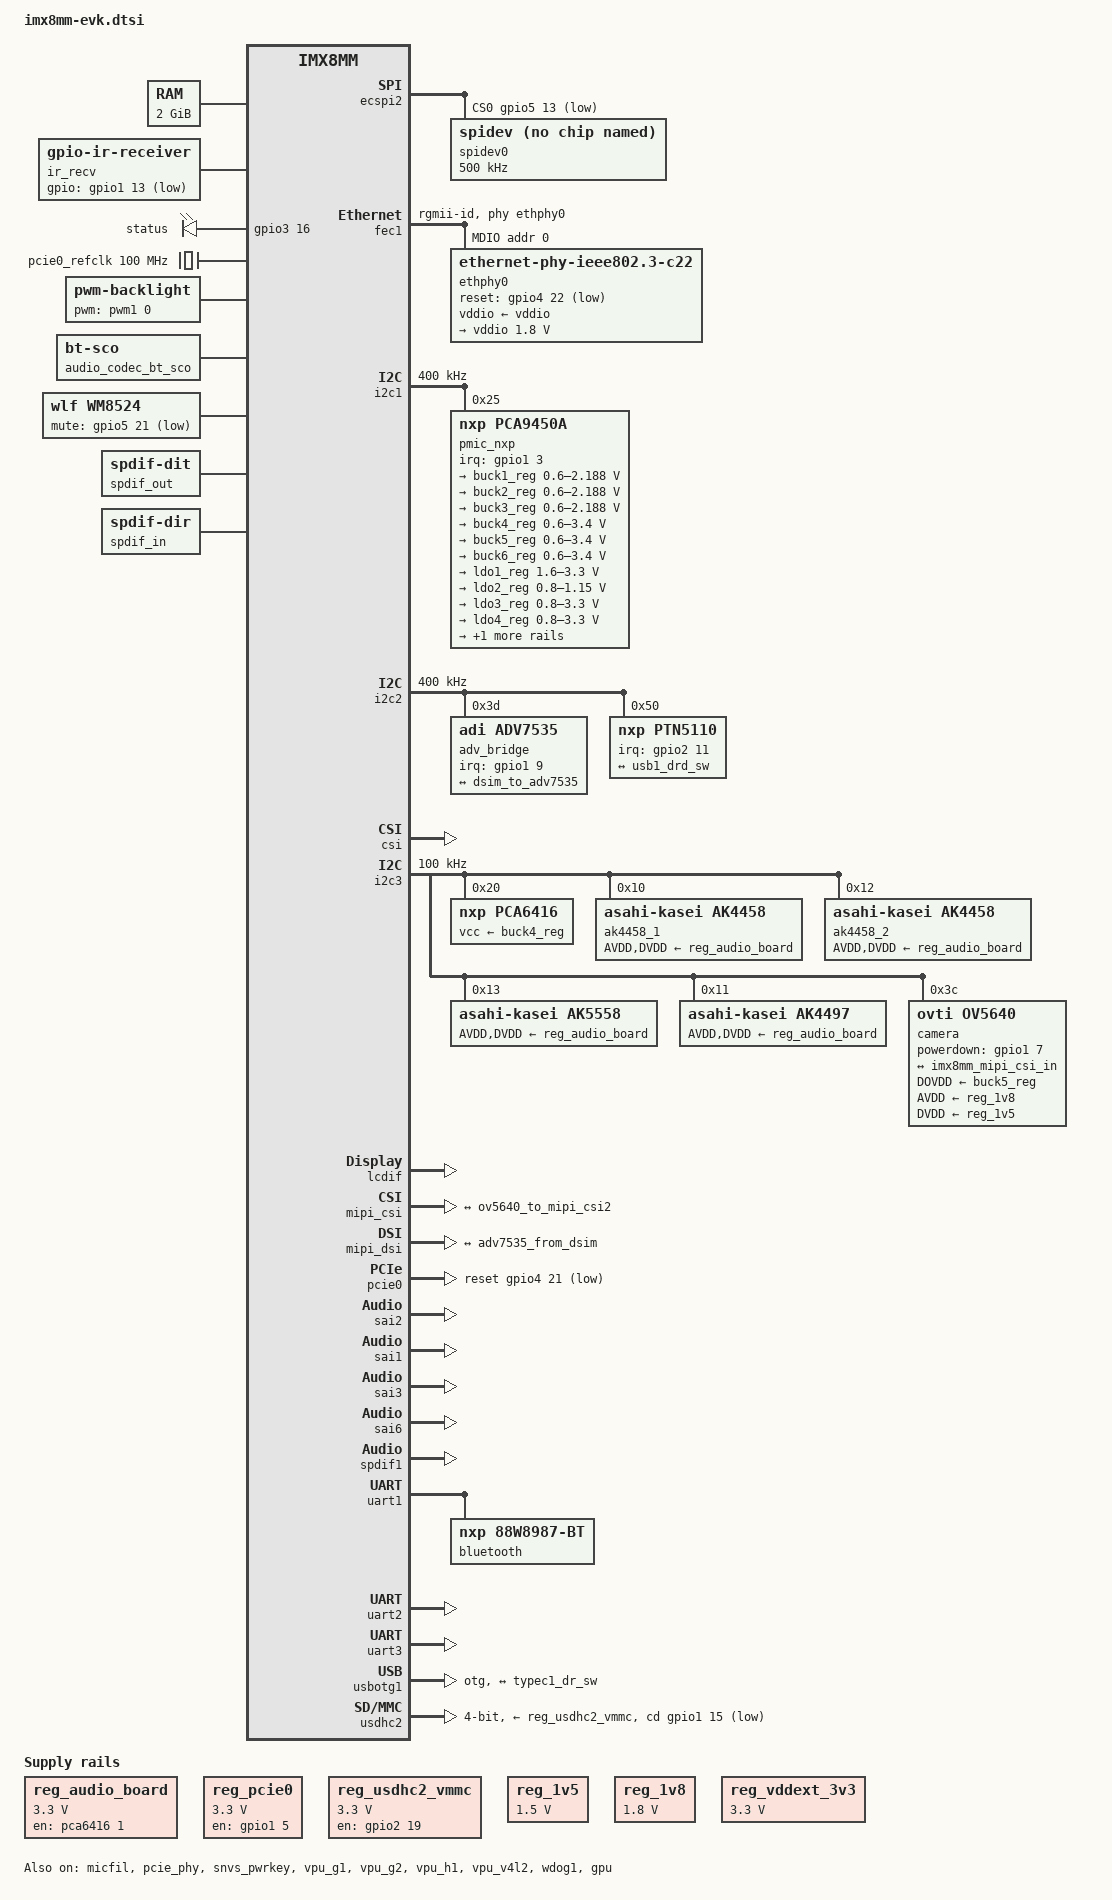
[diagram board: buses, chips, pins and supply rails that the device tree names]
// SPDX-License-Identifier: (GPL-2.0+ OR MIT)
/*
 * Copyright 2020 NXP
 */

/dts-v1/;

#include <dt-bindings/phy/phy-imx8-pcie.h>
#include <dt-bindings/usb/pd.h>
#include "imx8mm.dtsi"

/ {
	chosen {
		stdout-path = &uart2;
	};

	memory@40000000 {
		device_type = "memory";
		reg = <0x0 0x40000000 0 0x80000000>;
	};

	ir_recv: ir-receiver {
		compatible = "gpio-ir-receiver";
		gpios = <&gpio1 13 GPIO_ACTIVE_LOW>;
		pinctrl-names = "default";
		pinctrl-0 = <&pinctrl_ir_recv>;
		linux,autosuspend-period = <125>;
	};

	leds {
		compatible = "gpio-leds";
		pinctrl-names = "default";
		pinctrl-0 = <&pinctrl_gpio_led>;

		status {
			label = "status";
			gpios = <&gpio3 16 GPIO_ACTIVE_HIGH>;
			default-state = "on";
		};
	};

	pcie0_refclk: pcie0-refclk {
		compatible = "fixed-clock";
		#clock-cells = <0>;
		clock-frequency = <100000000>;
	};

	reg_audio_board: regulator-audio-board {
		compatible = "regulator-fixed";
		regulator-name = "EXT_PWREN";
		regulator-min-microvolt = <3300000>;
		regulator-max-microvolt = <3300000>;
		enable-active-high;
		startup-delay-us = <300000>;
		gpio = <&pca6416 1 GPIO_ACTIVE_HIGH>;
		regulator-always-on;
	};

	reg_pcie0: regulator-pcie {
		compatible = "regulator-fixed";
		pinctrl-names = "default";
		pinctrl-0 = <&pinctrl_pcie0_reg>;
		regulator-name = "MPCIE_3V3";
		regulator-min-microvolt = <3300000>;
		regulator-max-microvolt = <3300000>;
		gpio = <&gpio1 5 GPIO_ACTIVE_HIGH>;
		enable-active-high;
	};

	reg_usdhc2_vmmc: regulator-usdhc2 {
		compatible = "regulator-fixed";
		pinctrl-names = "default";
		pinctrl-0 = <&pinctrl_reg_usdhc2_vmmc>;
		regulator-name = "VSD_3V3";
		regulator-min-microvolt = <3300000>;
		regulator-max-microvolt = <3300000>;
		gpio = <&gpio2 19 GPIO_ACTIVE_HIGH>;
		off-on-delay-us = <20000>;
		enable-active-high;
	};

	reg_1v5: regulator-1v5 {
		compatible = "regulator-fixed";
		regulator-name = "VDD_1V5";
		regulator-min-microvolt = <1500000>;
		regulator-max-microvolt = <1500000>;
	};

	reg_1v8: regulator-1v8 {
		compatible = "regulator-fixed";
		regulator-name = "VDD_1V8";
		regulator-min-microvolt = <1800000>;
		regulator-max-microvolt = <1800000>;
	};

	reg_vddext_3v3: regulator-vddext-3v3 {
		compatible = "regulator-fixed";
		regulator-name = "VDDEXT_3V3";
		regulator-min-microvolt = <3300000>;
		regulator-max-microvolt = <3300000>;
	};

	backlight: backlight {
		compatible = "pwm-backlight";
		pwms = <&pwm1 0 5000000 0>;
		brightness-levels = <0 255>;
		num-interpolated-steps = <255>;
		default-brightness-level = <250>;
	};

	ir-receiver {
		compatible = "gpio-ir-receiver";
		gpios = <&gpio1 13 GPIO_ACTIVE_LOW>;
		pinctrl-names = "default";
		pinctrl-0 = <&pinctrl_ir>;
		linux,autosuspend-period = <125>;
	};

	audio_codec_bt_sco: audio-codec-bt-sco {
		compatible = "linux,bt-sco";
		#sound-dai-cells = <1>;
	};

	wm8524: audio-codec {
		#sound-dai-cells = <0>;
		compatible = "wlf,wm8524";
		pinctrl-names = "default";
		pinctrl-0 = <&pinctrl_gpio_wlf>;
		wlf,mute-gpios = <&gpio5 21 GPIO_ACTIVE_LOW>;
	};

	sound-bt-sco {
		compatible = "simple-audio-card";
		simple-audio-card,name = "bt-sco-audio";
		simple-audio-card,format = "dsp_a";
		simple-audio-card,bitclock-inversion;
		simple-audio-card,frame-master = <&btcpu>;
		simple-audio-card,bitclock-master = <&btcpu>;

		btcpu: simple-audio-card,cpu {
			sound-dai = <&sai2>;
			dai-tdm-slot-num = <2>;
			dai-tdm-slot-width = <16>;
		};

		simple-audio-card,codec {
			sound-dai = <&audio_codec_bt_sco 1>;
		};
	};

	sound-wm8524 {
		compatible = "simple-audio-card";
		simple-audio-card,name = "wm8524-audio";
		simple-audio-card,format = "i2s";
		simple-audio-card,frame-master = <&cpudai>;
		simple-audio-card,bitclock-master = <&cpudai>;
		simple-audio-card,widgets =
			"Line", "Left Line Out Jack",
			"Line", "Right Line Out Jack";
		simple-audio-card,routing =
			"Left Line Out Jack", "LINEVOUTL",
			"Right Line Out Jack", "LINEVOUTR";

		cpudai: simple-audio-card,cpu {
			sound-dai = <&sai3>;
			dai-tdm-slot-num = <2>;
			dai-tdm-slot-width = <32>;
		};

		simple-audio-card,codec {
			sound-dai = <&wm8524>;
			clocks = <&clk IMX8MM_CLK_SAI3_ROOT>;
		};
	};

	sound-ak4458 {
		compatible = "fsl,imx-audio-card";
		model = "ak4458-audio";
		pri-dai-link {
			link-name = "akcodec";
			format = "i2s";
			fsl,mclk-equal-bclk;
			cpu {
				sound-dai = <&sai1>;
			};
			codec {
				sound-dai = <&ak4458_1>, <&ak4458_2>;
			};
		};
	};

	sound-ak5558 {
		compatible = "fsl,imx-audio-card";
		model = "ak5558-audio";
		status = "disabled";
		pri-dai-link {
			link-name = "akcodec";
			format = "i2s";
			fsl,mclk-equal-bclk;
			cpu {
				sound-dai = <&sai5>;
			};
			codec {
				sound-dai = <&ak5558>;
			};
		};
	};

	sound-ak4497 {
		compatible = "fsl,imx-audio-card";
		model = "ak4497-audio";
		status = "disabled";
		pri-dai-link {
			link-name = "akcodec";
			format = "i2s";
			fsl,mclk-equal-bclk;
			cpu {
				sound-dai = <&sai1>;
			};
			codec {
				sound-dai = <&ak4497>;
			};
		};
	};

	sound-micfil {
		compatible = "fsl,imx-audio-card";
		model = "micfil-audio";

		pri-dai-link {
			link-name = "micfil hifi";
			format = "i2s";

			cpu {
				sound-dai = <&micfil>;
			};
		};
	};

	spdif_out: spdif-out {
		compatible = "linux,spdif-dit";
		#sound-dai-cells = <0>;
	};

	spdif_in: spdif-in {
		compatible = "linux,spdif-dir";
		#sound-dai-cells = <0>;
	};

	sound-spdif {
		compatible = "fsl,imx-audio-spdif";
		model = "imx-spdif";
		audio-cpu = <&spdif1>;
		audio-codec = <&spdif_out>, <&spdif_in>;
	};
};

&A53_0 {
	cpu-supply = <&buck2_reg>;
};

&A53_1 {
	cpu-supply = <&buck2_reg>;
};

&A53_2 {
	cpu-supply = <&buck2_reg>;
};

&A53_3 {
	cpu-supply = <&buck2_reg>;
};

&ecspi2 {
	#address-cells = <1>;
	#size-cells = <0>;
	fsl,spi-num-chipselects = <1>;
	pinctrl-names = "default";
	pinctrl-0 = <&pinctrl_ecspi2 &pinctrl_ecspi2_cs>;
	cs-gpios = <&gpio5 13 GPIO_ACTIVE_LOW>;
	status = "okay";

	spidev0: spi@0 {
		reg = <0>;
		compatible = "rohm,dh2228fv";
		spi-max-frequency = <500000>;
	};
};

&fec1 {
	pinctrl-names = "default";
	pinctrl-0 = <&pinctrl_fec1>;
	phy-mode = "rgmii-id";
	phy-handle = <&ethphy0>;
	fsl,magic-packet;
	status = "okay";

	mdio {
		#address-cells = <1>;
		#size-cells = <0>;

		ethphy0: ethernet-phy@0 {
			compatible = "ethernet-phy-ieee802.3-c22";
			reg = <0>;
			reset-gpios = <&gpio4 22 GPIO_ACTIVE_LOW>;
			reset-assert-us = <10000>;
			reset-deassert-us = <80000>;
			realtek,aldps-enable;
			realtek,clkout-disable;
			qca,disable-smarteee;
			vddio-supply = <&vddio>;

			vddio: vddio-regulator {
				regulator-min-microvolt = <1800000>;
				regulator-max-microvolt = <1800000>;
			};
		};
	};
};

&i2c1 {
	clock-frequency = <400000>;
	pinctrl-names = "default";
	pinctrl-0 = <&pinctrl_i2c1>;
	status = "okay";

	pmic_nxp: pca9450@25 {
		compatible = "nxp,pca9450a";
		reg = <0x25>;
		pinctrl-0 = <&pinctrl_pmic>;
		pinctrl-names = "default";
		interrupt-parent = <&gpio1>;
		interrupts = <3 IRQ_TYPE_LEVEL_LOW>;

		regulators {
			buck1_reg: BUCK1 {
				regulator-name = "BUCK1";
				regulator-min-microvolt = <600000>;
				regulator-max-microvolt = <2187500>;
				regulator-boot-on;
				regulator-always-on;
				regulator-ramp-delay = <3125>;
				nxp,dvs-run-voltage = <850000>;
				nxp,dvs-standby-voltage = <800000>;
			};

			buck2_reg: BUCK2 {
				regulator-name = "BUCK2";
				regulator-min-microvolt = <600000>;
				regulator-max-microvolt = <2187500>;
				regulator-boot-on;
				regulator-always-on;
				regulator-ramp-delay = <3125>;
			};

			buck3_reg: BUCK3 {
				regulator-name = "BUCK3";
				regulator-min-microvolt = <600000>;
				regulator-max-microvolt = <2187500>;
				regulator-boot-on;
				regulator-always-on;
			};

			buck4_reg: BUCK4 {
				regulator-name = "BUCK4";
				regulator-min-microvolt = <600000>;
				regulator-max-microvolt = <3400000>;
				regulator-boot-on;
				regulator-always-on;
			};

			buck5_reg: BUCK5 {
				regulator-name = "BUCK5";
				regulator-min-microvolt = <600000>;
				regulator-max-microvolt = <3400000>;
				regulator-boot-on;
				regulator-always-on;
			};

			buck6_reg: BUCK6 {
				regulator-name = "BUCK6";
				regulator-min-microvolt = <600000>;
				regulator-max-microvolt = <3400000>;
				regulator-boot-on;
				regulator-always-on;
			};

			ldo1_reg: LDO1 {
				regulator-name = "LDO1";
				regulator-min-microvolt = <1600000>;
				regulator-max-microvolt = <3300000>;
				regulator-boot-on;
				regulator-always-on;
			};

			ldo2_reg: LDO2 {
				regulator-name = "LDO2";
				regulator-min-microvolt = <800000>;
				regulator-max-microvolt = <1150000>;
				regulator-boot-on;
				regulator-always-on;
			};

			ldo3_reg: LDO3 {
				regulator-name = "LDO3";
				regulator-min-microvolt = <800000>;
				regulator-max-microvolt = <3300000>;
				regulator-boot-on;
				regulator-always-on;
			};

			ldo4_reg: LDO4 {
				regulator-name = "LDO4";
				regulator-min-microvolt = <800000>;
				regulator-max-microvolt = <3300000>;
				regulator-boot-on;
				regulator-always-on;
			};

			ldo5_reg: LDO5 {
				regulator-name = "LDO5";
				regulator-min-microvolt = <1800000>;
				regulator-max-microvolt = <3300000>;
			};
		};
	};
};

&i2c2 {
	clock-frequency = <400000>;
	pinctrl-names = "default";
	pinctrl-0 = <&pinctrl_i2c2>;
	status = "okay";

	adv_bridge: adv7535@3d {
		compatible = "adi,adv7535";
		reg = <0x3d>;
		adi,addr-cec = <0x3b>;
		adi,dsi-lanes = <4>;
		pinctrl-names = "default";
		pinctrl-0 = <&pinctrl_i2c2_synaptics_dsx_io>;
		interrupt-parent = <&gpio1>;
		interrupts = <9 IRQ_TYPE_LEVEL_LOW>;

		status = "okay";

		port {
			adv7535_from_dsim: endpoint {
				remote-endpoint = <&dsim_to_adv7535>;
			};
		};
	};

	ptn5110: tcpc@50 {
		compatible = "nxp,ptn5110", "tcpci";
		pinctrl-names = "default";
		pinctrl-0 = <&pinctrl_typec1>;
		reg = <0x50>;
		interrupt-parent = <&gpio2>;
		interrupts = <11 IRQ_TYPE_LEVEL_LOW>;
		status = "okay";

		typec1_con: connector {
			compatible = "usb-c-connector";
			label = "USB-C";
			power-role = "dual";
			data-role = "dual";
			try-power-role = "sink";
			source-pdos = <PDO_FIXED(5000, 3000, PDO_FIXED_USB_COMM)>;
			sink-pdos = <PDO_FIXED(5000, 3000, PDO_FIXED_USB_COMM)
				     PDO_VAR(5000, 20000, 3000)>;
			op-sink-microwatt = <15000000>;
			self-powered;

			port {
				typec1_dr_sw: endpoint {
					remote-endpoint = <&usb1_drd_sw>;
				};
			};
		};
	};
};


&csi {
	status = "okay";
};

&i2c3 {
	clock-frequency = <100000>;
	pinctrl-names = "default";
	pinctrl-0 = <&pinctrl_i2c3>;
	status = "okay";

	pca6416: gpio@20 {
		compatible = "nxp,pca6416";
		reg = <0x20>;
		gpio-controller;
		#gpio-cells = <2>;
		vcc-supply = <&buck4_reg>;

		ak4458-reset-hog {
			gpio-hog;
			gpios = <4 GPIO_ACTIVE_LOW>;
			output-low;
		};

		ak5558-reset-hog {
			gpio-hog;
			gpios = <3 GPIO_ACTIVE_LOW>;
			output-low;
		};

		ak4497-reset-hog {
			gpio-hog;
			gpios = <5 GPIO_ACTIVE_LOW>;
			output-low;
		};
	};

	ak4458_1: ak4458@10 {
		#sound-dai-cells = <0>;
		sound-name-prefix = "0";
		compatible = "asahi-kasei,ak4458";
		reg = <0x10>;
		AVDD-supply = <&reg_audio_board>;
		DVDD-supply = <&reg_audio_board>;
	};

	ak4458_2: ak4458@12 {
		#sound-dai-cells = <0>;
		sound-name-prefix = "1";
		compatible = "asahi-kasei,ak4458";
		reg = <0x12>;
		AVDD-supply = <&reg_audio_board>;
		DVDD-supply = <&reg_audio_board>;
	};

	ak5558: ak5558@13 {
		#sound-dai-cells = <0>;
		compatible = "asahi-kasei,ak5558";
		reg = <0x13>;
		AVDD-supply = <&reg_audio_board>;
		DVDD-supply = <&reg_audio_board>;
	};

	ak4497: ak4497@11 {
		#sound-dai-cells = <0>;
		compatible = "asahi-kasei,ak4497";
		reg = <0x11>;
		AVDD-supply = <&reg_audio_board>;
		DVDD-supply = <&reg_audio_board>;
		dsd-path = <1>;
	};

	camera@3c {
		compatible = "ovti,ov5640";
		reg = <0x3c>;
		pinctrl-names = "default";
		pinctrl-0 = <&pinctrl_camera>;
		clocks = <&clk IMX8MM_CLK_CLKO1>;
		clock-names = "xclk";
		assigned-clocks = <&clk IMX8MM_CLK_CLKO1>;
		assigned-clock-parents = <&clk IMX8MM_CLK_24M>;
		assigned-clock-rates = <24000000>;
		powerdown-gpios = <&gpio1 7 GPIO_ACTIVE_HIGH>;
		DOVDD-supply = <&buck5_reg>;
		AVDD-supply = <&reg_1v8>;
		DVDD-supply = <&reg_1v5>;

		port {
			ov5640_to_mipi_csi2: endpoint {
				remote-endpoint = <&imx8mm_mipi_csi_in>;
				clock-lanes = <0>;
				data-lanes = <1 2>;
			};
		};
	};
};

&lcdif {
       status = "okay";
};

&micfil {
	#sound-dai-cells = <0>;
	pinctrl-names = "default";
	pinctrl-0 = <&pinctrl_pdm>;
	assigned-clocks = <&clk IMX8MM_CLK_PDM>;
	assigned-clock-parents = <&clk IMX8MM_AUDIO_PLL1_OUT>;
	assigned-clock-rates = <196608000>;
	status = "okay";
};

&mipi_csi {
	status = "okay";

	ports {
		port@0 {
			imx8mm_mipi_csi_in: endpoint {
				remote-endpoint = <&ov5640_to_mipi_csi2>;
				data-lanes = <1 2>;
			};
		};
	};
};

&mipi_dsi {
       status = "okay";

       port@1 {
               dsim_to_adv7535: endpoint {
                       remote-endpoint = <&adv7535_from_dsim>;
			attach-bridge;
               };
       };
};

&pcie_phy {
	fsl,refclk-pad-mode = <IMX8_PCIE_REFCLK_PAD_INPUT>;
	fsl,tx-deemph-gen1 = <0x2d>;
	fsl,tx-deemph-gen2 = <0xf>;
	clocks = <&pcie0_refclk>;
	status = "okay";
};

&pcie0 {
	pinctrl-names = "default";
	pinctrl-0 = <&pinctrl_pcie0>;
	reset-gpio = <&gpio4 21 GPIO_ACTIVE_LOW>;
	clocks = <&clk IMX8MM_CLK_PCIE1_ROOT>, <&pcie0_refclk>,
		 <&clk IMX8MM_CLK_PCIE1_AUX>;
	assigned-clocks = <&clk IMX8MM_CLK_PCIE1_AUX>,
			  <&clk IMX8MM_CLK_PCIE1_CTRL>;
	assigned-clock-rates = <10000000>, <250000000>;
	assigned-clock-parents = <&clk IMX8MM_SYS_PLL2_50M>,
				 <&clk IMX8MM_SYS_PLL2_250M>;
	vpcie-supply = <&reg_pcie0>;
	status = "okay";
};

&sai2 {
	#sound-dai-cells = <0>;
	pinctrl-names = "default";
	pinctrl-0 = <&pinctrl_sai2>;
	assigned-clocks = <&clk IMX8MM_CLK_SAI2>;
	assigned-clock-parents = <&clk IMX8MM_AUDIO_PLL1_OUT>;
	assigned-clock-rates = <24576000>;
	fsl,sai-mclk-direction-output;
	status = "okay";
};

&sai1 {
	pinctrl-names = "default", "dsd";
	pinctrl-0 = <&pinctrl_sai1>;
	pinctrl-1 = <&pinctrl_sai1_dsd>;
	assigned-clocks = <&clk IMX8MM_CLK_SAI1>;
	assigned-clock-parents = <&clk IMX8MM_AUDIO_PLL1_OUT>;
	assigned-clock-rates = <49152000>;
	clocks = <&clk IMX8MM_CLK_SAI1_IPG>, <&clk IMX8MM_CLK_DUMMY>,
		<&clk IMX8MM_CLK_SAI1_ROOT>, <&clk IMX8MM_CLK_DUMMY>,
		<&clk IMX8MM_CLK_DUMMY>, <&clk IMX8MM_AUDIO_PLL1_OUT>,
		<&clk IMX8MM_AUDIO_PLL2_OUT>;
	clock-names = "bus", "mclk0", "mclk1", "mclk2", "mclk3", "pll8k", "pll11k";
	fsl,sai-multi-lane;
	fsl,sai-mclk-direction-output;
	fsl,dataline = <0 0xff 0xff 2 0xff 0x11>;
	dmas = <&sdma2 0 25 0>, <&sdma2 1 25 0>;
	status = "okay";
};

&sai3 {
	pinctrl-names = "default";
	pinctrl-0 = <&pinctrl_sai3>;
	assigned-clocks = <&clk IMX8MM_CLK_SAI3>;
	assigned-clock-parents = <&clk IMX8MM_AUDIO_PLL1_OUT>;
	assigned-clock-rates = <24576000>;
	fsl,sai-mclk-direction-output;
	status = "okay";
};

&sai5 {
	pinctrl-names = "default";
	pinctrl-0 = <&pinctrl_sai5>;
	assigned-clocks = <&clk IMX8MM_CLK_SAI5>;
	assigned-clock-parents = <&clk IMX8MM_AUDIO_PLL1_OUT>;
	assigned-clock-rates = <49152000>;
	clocks = <&clk IMX8MM_CLK_SAI5_IPG>, <&clk IMX8MM_CLK_DUMMY>,
		<&clk IMX8MM_CLK_SAI5_ROOT>, <&clk IMX8MM_CLK_DUMMY>,
		<&clk IMX8MM_CLK_DUMMY>, <&clk IMX8MM_AUDIO_PLL1_OUT>,
		<&clk IMX8MM_AUDIO_PLL2_OUT>;
	clock-names = "bus", "mclk0", "mclk1", "mclk2", "mclk3", "pll8k", "pll11k";
	fsl,sai-asynchronous;
	fsl,sai-multi-lane;
	fsl,sai-mclk-direction-output;
	dmas = <&sdma2 8 25 0>, <&sdma2 9 25 0>;
	status = "disabled";
};

&sai6 {
	fsl,sai-monitor-spdif;
	fsl,sai-asynchronous;
	status = "okay";
};

&snvs_pwrkey {
	status = "okay";
};

&spdif1 {
	pinctrl-names = "default";
	pinctrl-0 = <&pinctrl_spdif1>;
	assigned-clocks = <&clk IMX8MM_CLK_SPDIF1>;
	assigned-clock-parents = <&clk IMX8MM_AUDIO_PLL1_OUT>;
	assigned-clock-rates = <24576000>;
	clocks = <&clk IMX8MM_CLK_AUDIO_AHB>, <&clk IMX8MM_CLK_24M>,
		 <&clk IMX8MM_CLK_SPDIF1>, <&clk IMX8MM_CLK_DUMMY>,
		 <&clk IMX8MM_CLK_DUMMY>, <&clk IMX8MM_CLK_DUMMY>,
		 <&clk IMX8MM_CLK_AUDIO_AHB>, <&clk IMX8MM_CLK_DUMMY>,
		 <&clk IMX8MM_CLK_DUMMY>, <&clk IMX8MM_CLK_DUMMY>,
		 <&clk IMX8MM_AUDIO_PLL1_OUT>, <&clk IMX8MM_AUDIO_PLL2_OUT>;
	clock-names = "core", "rxtx0", "rxtx1", "rxtx2", "rxtx3",
		      "rxtx4", "rxtx5", "rxtx6", "rxtx7", "spba",
		      "pll8k", "pll11k";
	status = "okay";
};

&uart1 { /* BT */
	pinctrl-names = "default";
	pinctrl-0 = <&pinctrl_uart1>;
	assigned-clocks = <&clk IMX8MM_CLK_UART1>;
	assigned-clock-parents = <&clk IMX8MM_SYS_PLL1_80M>;
	fsl,uart-has-rtscts;
	status = "okay";

	bluetooth {
		compatible = "nxp,88w8987-bt";
	};
};

&uart2 { /* console */
	pinctrl-names = "default";
	pinctrl-0 = <&pinctrl_uart2>;
	status = "okay";
};

&uart3 {
	pinctrl-names = "default";
	pinctrl-0 = <&pinctrl_uart3>;
	assigned-clocks = <&clk IMX8MM_CLK_UART3>;
	assigned-clock-parents = <&clk IMX8MM_SYS_PLL1_80M>;
	fsl,uart-has-rtscts;
	status = "okay";
};

&usbphynop1 {
	wakeup-source;
};

&usbotg1 {
	dr_mode = "otg";
	hnp-disable;
	srp-disable;
	adp-disable;
	usb-role-switch;
	disable-over-current;
	samsung,picophy-pre-emp-curr-control = <3>;
	samsung,picophy-dc-vol-level-adjust = <7>;
	status = "okay";

	port {
		usb1_drd_sw: endpoint {
			remote-endpoint = <&typec1_dr_sw>;
		};
	};
};

&usdhc2 {
	assigned-clocks = <&clk IMX8MM_CLK_USDHC2>;
	assigned-clock-rates = <200000000>;
	pinctrl-names = "default", "state_100mhz", "state_200mhz";
	pinctrl-0 = <&pinctrl_usdhc2>, <&pinctrl_usdhc2_gpio>;
	pinctrl-1 = <&pinctrl_usdhc2_100mhz>, <&pinctrl_usdhc2_gpio>;
	pinctrl-2 = <&pinctrl_usdhc2_200mhz>, <&pinctrl_usdhc2_gpio>;
	cd-gpios = <&gpio1 15 GPIO_ACTIVE_LOW>;
	bus-width = <4>;
	vmmc-supply = <&reg_usdhc2_vmmc>;
	status = "okay";
};

&vpu_g1 {
	status = "okay";
};

&vpu_g2 {
	status = "okay";
};

&vpu_h1 {
	status = "okay";
};

&vpu_v4l2 {
	status = "okay";
};

&wdog1 {
	pinctrl-names = "default";
	pinctrl-0 = <&pinctrl_wdog>;
	fsl,ext-reset-output;
	status = "okay";
};

&pwm1 {
	pinctrl-names = "default";
	pinctrl-0 = <&pinctrl_backlight>;
};

&gpu {
	status = "okay";
};

&iomuxc {
	pinctrl_ir_recv: ir-recv {
		fsl,pins = <
			MX8MM_IOMUXC_GPIO1_IO13_GPIO1_IO13		0x4f
		>;
	};

	pinctrl_ecspi2: ecspi2grp {
		fsl,pins = <
			MX8MM_IOMUXC_ECSPI2_SCLK_ECSPI2_SCLK		0x82
			MX8MM_IOMUXC_ECSPI2_MOSI_ECSPI2_MOSI		0x82
			MX8MM_IOMUXC_ECSPI2_MISO_ECSPI2_MISO		0x82
		>;
	};

	pinctrl_ecspi2_cs: ecspi2cs {
		fsl,pins = <
			MX8MM_IOMUXC_ECSPI2_SS0_GPIO5_IO13		0x40000
		>;
	};

	pinctrl_fec1: fec1grp {
		fsl,pins = <
			MX8MM_IOMUXC_ENET_MDC_ENET1_MDC			0x3
			MX8MM_IOMUXC_ENET_MDIO_ENET1_MDIO		0x3
			MX8MM_IOMUXC_ENET_TD3_ENET1_RGMII_TD3		0x1f
			MX8MM_IOMUXC_ENET_TD2_ENET1_RGMII_TD2		0x1f
			MX8MM_IOMUXC_ENET_TD1_ENET1_RGMII_TD1		0x1f
			MX8MM_IOMUXC_ENET_TD0_ENET1_RGMII_TD0		0x1f
			MX8MM_IOMUXC_ENET_RD3_ENET1_RGMII_RD3		0x91
			MX8MM_IOMUXC_ENET_RD2_ENET1_RGMII_RD2		0x91
			MX8MM_IOMUXC_ENET_RD1_ENET1_RGMII_RD1		0x91
			MX8MM_IOMUXC_ENET_RD0_ENET1_RGMII_RD0		0x91
			MX8MM_IOMUXC_ENET_TXC_ENET1_RGMII_TXC		0x1f
			MX8MM_IOMUXC_ENET_RXC_ENET1_RGMII_RXC		0x91
			MX8MM_IOMUXC_ENET_RX_CTL_ENET1_RGMII_RX_CTL	0x91
			MX8MM_IOMUXC_ENET_TX_CTL_ENET1_RGMII_TX_CTL	0x1f
			MX8MM_IOMUXC_SAI2_RXC_GPIO4_IO22		0x19
		>;
	};

	pinctrl_gpio_led: gpioledgrp {
		fsl,pins = <
			MX8MM_IOMUXC_NAND_READY_B_GPIO3_IO16	0x19
		>;
	};

	pinctrl_ir: irgrp {
		fsl,pins = <
			MX8MM_IOMUXC_GPIO1_IO13_GPIO1_IO13              0x4f
		>;
	};

	pinctrl_gpio_wlf: gpiowlfgrp {
		fsl,pins = <
			MX8MM_IOMUXC_I2C4_SDA_GPIO5_IO21	0xd6
		>;
	};

	pinctrl_i2c1: i2c1grp {
		fsl,pins = <
			MX8MM_IOMUXC_I2C1_SCL_I2C1_SCL			0x400001c3
			MX8MM_IOMUXC_I2C1_SDA_I2C1_SDA			0x400001c3
		>;
	};

	pinctrl_i2c2: i2c2grp {
		fsl,pins = <
			MX8MM_IOMUXC_I2C2_SCL_I2C2_SCL			0x400001c3
			MX8MM_IOMUXC_I2C2_SDA_I2C2_SDA			0x400001c3
		>;
	};

	pinctrl_i2c2_synaptics_dsx_io: synaptics_dsx_iogrp {
		fsl,pins = <
			MX8MM_IOMUXC_GPIO1_IO09_GPIO1_IO9               0x19    /* Touch int */
		>;
	};

	pinctrl_i2c3: i2c3grp {
		fsl,pins = <
			MX8MM_IOMUXC_I2C3_SCL_I2C3_SCL			0x400001c3
			MX8MM_IOMUXC_I2C3_SDA_I2C3_SDA			0x400001c3
		>;
	};

	pinctrl_mipi_dsi_en: mipi_dsi_en {
		fsl,pins = <
			MX8MM_IOMUXC_GPIO1_IO08_GPIO1_IO8		0x16
		>;
	};

	pinctrl_pcie0: pcie0grp {
		fsl,pins = <
			MX8MM_IOMUXC_I2C4_SCL_PCIE1_CLKREQ_B    0x61
			MX8MM_IOMUXC_SAI2_RXFS_GPIO4_IO21       0x41
		>;
	};

	pinctrl_pcie0_reg: pcie0reggrp {
		fsl,pins = <
			MX8MM_IOMUXC_GPIO1_IO05_GPIO1_IO5       0x41
		>;
	};

	pinctrl_pdm: pdmgrp {
		fsl,pins = <
			MX8MM_IOMUXC_SAI5_MCLK_SAI5_MCLK        0xd6
			MX8MM_IOMUXC_SAI5_RXC_PDM_CLK           0xd6
			MX8MM_IOMUXC_SAI5_RXFS_SAI5_RX_SYNC     0xd6
			MX8MM_IOMUXC_SAI5_RXD0_PDM_DATA0        0xd6
			MX8MM_IOMUXC_SAI5_RXD1_PDM_DATA1        0xd6
			MX8MM_IOMUXC_SAI5_RXD2_PDM_DATA2        0xd6
			MX8MM_IOMUXC_SAI5_RXD3_PDM_DATA3        0xd6
		>;
	};

	pinctrl_pmic: pmicirqgrp {
		fsl,pins = <
			MX8MM_IOMUXC_GPIO1_IO03_GPIO1_IO3		0x141
		>;
	};

	pinctrl_reg_usdhc2_vmmc: regusdhc2vmmcgrp {
		fsl,pins = <
			MX8MM_IOMUXC_SD2_RESET_B_GPIO2_IO19	0x41
		>;
	};

	pinctrl_sai1: sai1grp {
		fsl,pins = <
			MX8MM_IOMUXC_SAI1_MCLK_SAI1_MCLK	0xd6
			MX8MM_IOMUXC_SAI1_TXFS_SAI1_TX_SYNC	0xd6
			MX8MM_IOMUXC_SAI1_RXD7_SAI1_TX_SYNC	0xd6
			MX8MM_IOMUXC_SAI1_TXC_SAI1_TX_BCLK	0xd6
			MX8MM_IOMUXC_SAI1_TXD0_SAI1_TX_DATA0	0xd6
			MX8MM_IOMUXC_SAI1_TXD1_SAI1_TX_DATA1	0xd6
			MX8MM_IOMUXC_SAI1_TXD2_SAI1_TX_DATA2	0xd6
			MX8MM_IOMUXC_SAI1_TXD3_SAI1_TX_DATA3	0xd6
			MX8MM_IOMUXC_SAI1_TXD4_SAI1_TX_DATA4	0xd6
			MX8MM_IOMUXC_SAI1_TXD5_SAI1_TX_DATA5	0xd6
			MX8MM_IOMUXC_SAI1_TXD6_SAI1_TX_DATA6	0xd6
			MX8MM_IOMUXC_SAI1_TXD7_SAI1_TX_DATA7	0xd6
		>;
	};

	pinctrl_sai1_dsd: sai1grp_dsd {
		fsl,pins = <
			MX8MM_IOMUXC_SAI1_MCLK_SAI1_MCLK	0xd6
			MX8MM_IOMUXC_SAI1_TXFS_SAI1_TX_SYNC	0xd6
			MX8MM_IOMUXC_SAI1_RXD7_SAI1_TX_DATA4	0xd6
			MX8MM_IOMUXC_SAI1_TXC_SAI1_TX_BCLK	0xd6
			MX8MM_IOMUXC_SAI1_TXD0_SAI1_TX_DATA0	0xd6
			MX8MM_IOMUXC_SAI1_TXD1_SAI1_TX_DATA1	0xd6
			MX8MM_IOMUXC_SAI1_TXD2_SAI1_TX_DATA2	0xd6
			MX8MM_IOMUXC_SAI1_TXD3_SAI1_TX_DATA3	0xd6
			MX8MM_IOMUXC_SAI1_TXD4_SAI1_TX_DATA4	0xd6
			MX8MM_IOMUXC_SAI1_TXD5_SAI1_TX_DATA5	0xd6
			MX8MM_IOMUXC_SAI1_TXD6_SAI1_TX_DATA6	0xd6
			MX8MM_IOMUXC_SAI1_TXD7_SAI1_TX_DATA7	0xd6
		>;
	};

	pinctrl_sai2: sai2grp {
		fsl,pins = <
			MX8MM_IOMUXC_SAI2_TXC_SAI2_TX_BCLK      0xd6
			MX8MM_IOMUXC_SAI2_TXFS_SAI2_TX_SYNC     0xd6
			MX8MM_IOMUXC_SAI2_TXD0_SAI2_TX_DATA0    0xd6
			MX8MM_IOMUXC_SAI2_RXD0_SAI2_RX_DATA0    0xd6
		>;
	};

	pinctrl_sai3: sai3grp {
		fsl,pins = <
			MX8MM_IOMUXC_SAI3_TXFS_SAI3_TX_SYNC     0xd6
			MX8MM_IOMUXC_SAI3_TXC_SAI3_TX_BCLK      0xd6
			MX8MM_IOMUXC_SAI3_MCLK_SAI3_MCLK        0xd6
			MX8MM_IOMUXC_SAI3_TXD_SAI3_TX_DATA0     0xd6
		>;
	};

	pinctrl_sai5: sai5grp {
		fsl,pins = <
			MX8MM_IOMUXC_SAI5_MCLK_SAI5_MCLK	0xd6
			MX8MM_IOMUXC_SAI5_RXC_SAI5_RX_BCLK	0xd6
			MX8MM_IOMUXC_SAI5_RXFS_SAI5_RX_SYNC	0xd6
			MX8MM_IOMUXC_SAI5_RXD0_SAI5_RX_DATA0	0xd6
			MX8MM_IOMUXC_SAI5_RXD1_SAI5_RX_DATA1    0xd6
			MX8MM_IOMUXC_SAI5_RXD2_SAI5_RX_DATA2    0xd6
			MX8MM_IOMUXC_SAI5_RXD3_SAI5_RX_DATA3    0xd6
		>;
	};

	pinctrl_spdif1: spdif1grp {
		fsl,pins = <
			MX8MM_IOMUXC_SPDIF_TX_SPDIF1_OUT	0xd6
			MX8MM_IOMUXC_SPDIF_RX_SPDIF1_IN		0xd6
		>;
	};

	pinctrl_typec1: typec1grp {
		fsl,pins = <
			MX8MM_IOMUXC_SD1_STROBE_GPIO2_IO11	0x159
		>;
	};

	pinctrl_uart1: uart1grp {
		fsl,pins = <
			MX8MM_IOMUXC_UART1_RXD_UART1_DCE_RX     0x140
			MX8MM_IOMUXC_UART1_TXD_UART1_DCE_TX     0x140
			MX8MM_IOMUXC_UART3_RXD_UART1_DCE_CTS_B  0x140
			MX8MM_IOMUXC_UART3_TXD_UART1_DCE_RTS_B  0x140
		>;
	};

	pinctrl_uart2: uart2grp {
		fsl,pins = <
			MX8MM_IOMUXC_UART2_RXD_UART2_DCE_RX	0x140
			MX8MM_IOMUXC_UART2_TXD_UART2_DCE_TX	0x140
		>;
	};

	pinctrl_uart3: uart3grp {
		fsl,pins = <
			MX8MM_IOMUXC_ECSPI1_SCLK_UART3_DCE_RX           0x140
			MX8MM_IOMUXC_ECSPI1_MOSI_UART3_DCE_TX           0x140
			MX8MM_IOMUXC_ECSPI1_SS0_UART3_DCE_RTS_B         0x140
			MX8MM_IOMUXC_ECSPI1_MISO_UART3_DCE_CTS_B        0x140
		>;
	};

	pinctrl_usdhc1: usdhc1grp {
		fsl,pins = <
			MX8MM_IOMUXC_SD1_CLK_USDHC1_CLK		0x190
			MX8MM_IOMUXC_SD1_CMD_USDHC1_CMD		0x1d0
			MX8MM_IOMUXC_SD1_DATA0_USDHC1_DATA0	0x1d0
			MX8MM_IOMUXC_SD1_DATA1_USDHC1_DATA1	0x1d0
			MX8MM_IOMUXC_SD1_DATA2_USDHC1_DATA2	0x1d0
			MX8MM_IOMUXC_SD1_DATA3_USDHC1_DATA3	0x1d0
		>;
	};

	pinctrl_usdhc1_100mhz: usdhc1grp100mhz {
		fsl,pins = <
			MX8MM_IOMUXC_SD1_CLK_USDHC1_CLK		0x194
			MX8MM_IOMUXC_SD1_CMD_USDHC1_CMD		0x1d4
			MX8MM_IOMUXC_SD1_DATA0_USDHC1_DATA0	0x1d4
			MX8MM_IOMUXC_SD1_DATA1_USDHC1_DATA1	0x1d4
			MX8MM_IOMUXC_SD1_DATA2_USDHC1_DATA2	0x1d4
			MX8MM_IOMUXC_SD1_DATA3_USDHC1_DATA3	0x1d4
		>;
	};

	pinctrl_usdhc1_200mhz: usdhc1grp200mhz {
		fsl,pins = <
			MX8MM_IOMUXC_SD1_CLK_USDHC1_CLK		0x196
			MX8MM_IOMUXC_SD1_CMD_USDHC1_CMD		0x1d6
			MX8MM_IOMUXC_SD1_DATA0_USDHC1_DATA0	0x1d6
			MX8MM_IOMUXC_SD1_DATA1_USDHC1_DATA1	0x1d6
			MX8MM_IOMUXC_SD1_DATA2_USDHC1_DATA2	0x1d6
			MX8MM_IOMUXC_SD1_DATA3_USDHC1_DATA3	0x1d6
		>;
	};

	pinctrl_usdhc2_gpio: usdhc2grpgpiogrp {
		fsl,pins = <
			MX8MM_IOMUXC_GPIO1_IO15_GPIO1_IO15	0x1c4
		>;
	};

	pinctrl_usdhc2: usdhc2grp {
		fsl,pins = <
			MX8MM_IOMUXC_SD2_CLK_USDHC2_CLK		0x190
			MX8MM_IOMUXC_SD2_CMD_USDHC2_CMD		0x1d0
			MX8MM_IOMUXC_SD2_DATA0_USDHC2_DATA0	0x1d0
			MX8MM_IOMUXC_SD2_DATA1_USDHC2_DATA1	0x1d0
			MX8MM_IOMUXC_SD2_DATA2_USDHC2_DATA2	0x1d0
			MX8MM_IOMUXC_SD2_DATA3_USDHC2_DATA3	0x1d0
			MX8MM_IOMUXC_GPIO1_IO04_USDHC2_VSELECT	0x1d0
		>;
	};

	pinctrl_usdhc2_100mhz: usdhc2-100mhzgrp {
		fsl,pins = <
			MX8MM_IOMUXC_SD2_CLK_USDHC2_CLK		0x194
			MX8MM_IOMUXC_SD2_CMD_USDHC2_CMD		0x1d4
			MX8MM_IOMUXC_SD2_DATA0_USDHC2_DATA0	0x1d4
			MX8MM_IOMUXC_SD2_DATA1_USDHC2_DATA1	0x1d4
			MX8MM_IOMUXC_SD2_DATA2_USDHC2_DATA2	0x1d4
			MX8MM_IOMUXC_SD2_DATA3_USDHC2_DATA3	0x1d4
			MX8MM_IOMUXC_GPIO1_IO04_USDHC2_VSELECT	0x1d0
		>;
	};

	pinctrl_usdhc2_200mhz: usdhc2-200mhzgrp {
		fsl,pins = <
			MX8MM_IOMUXC_SD2_CLK_USDHC2_CLK		0x196
			MX8MM_IOMUXC_SD2_CMD_USDHC2_CMD		0x1d6
			MX8MM_IOMUXC_SD2_DATA0_USDHC2_DATA0	0x1d6
			MX8MM_IOMUXC_SD2_DATA1_USDHC2_DATA1	0x1d6
			MX8MM_IOMUXC_SD2_DATA2_USDHC2_DATA2	0x1d6
			MX8MM_IOMUXC_SD2_DATA3_USDHC2_DATA3	0x1d6
			MX8MM_IOMUXC_GPIO1_IO04_USDHC2_VSELECT	0x1d0
		>;
	};

	pinctrl_wdog: wdoggrp {
		fsl,pins = <
			MX8MM_IOMUXC_GPIO1_IO02_WDOG1_WDOG_B	0x166
		>;
	};

	pinctrl_backlight: backlightgrp {
		fsl,pins = <
			MX8MM_IOMUXC_GPIO1_IO01_PWM1_OUT	0x06
		>;
	};

	pinctrl_camera: cameragrp {
		fsl,pins = <
			MX8MM_IOMUXC_GPIO1_IO06_GPIO1_IO6		0x19
			MX8MM_IOMUXC_GPIO1_IO07_GPIO1_IO7		0x19
			MX8MM_IOMUXC_GPIO1_IO14_CCMSRCGPCMIX_CLKO1	0x59
		>;
	};
};
